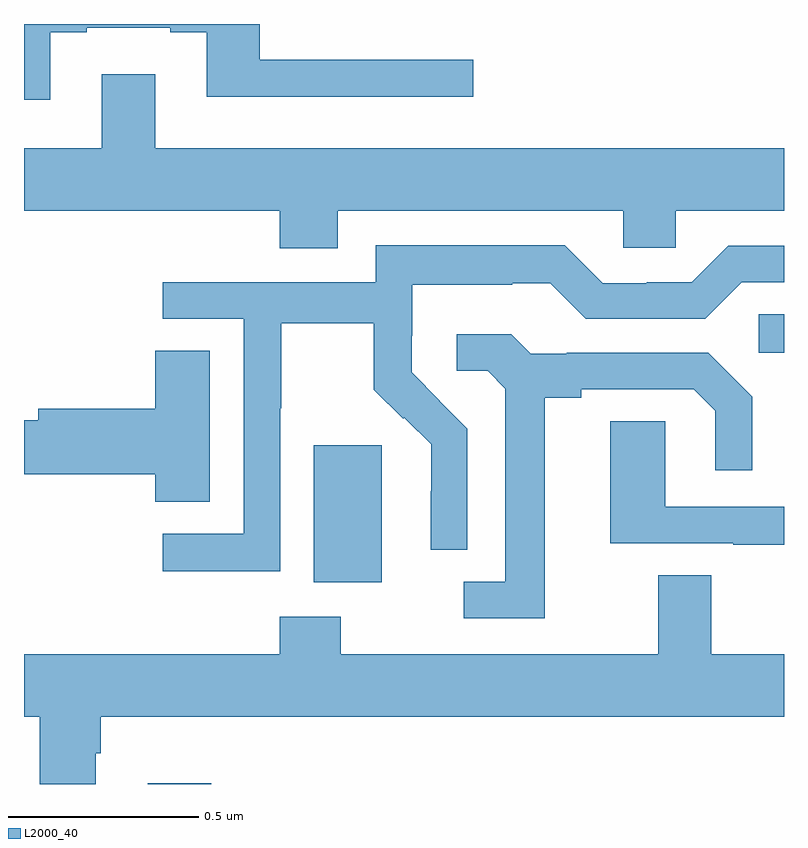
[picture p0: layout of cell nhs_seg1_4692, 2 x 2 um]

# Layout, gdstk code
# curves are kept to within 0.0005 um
import gdstk
lib = gdstk.Library(unit=1e-6, precision=1e-09)
def R(c, l, rs):  # rectangles x0, y0, x1, y1
    for r in rs: c.add(gdstk.rectangle(r[:2], r[2:], *l))
def P(c, l, *ps):  # polygons
    for p in ps: c.add(gdstk.Polygon(p, *l))
L2000_40 = (2000, 40)

nhs_seg1_4692 = lib.new_cell('nhs_seg1_4692')
R(nhs_seg1_4692, L2000_40, [(169.325,574.199,169.493,574.201), (169.763,574.73,169.942,575.091), (170.934,575.334,171,575.435)])
P(nhs_seg1_4692, L2000_40, [(169.069,576.177),(169.165,576.177),(169.165,576.189),(169.385,576.189),(169.385,576.177),(169.481,576.177),(169.481,576.008),(170.182,576.008),(170.182,576.105),(169.621,576.105),(169.621,576.199),(169,576.199),(169,576),(169.069,576)],
  [(169.825,575.708),(170.577,575.708),(170.577,575.61),(170.715,575.61),(170.715,575.708),(171,575.708),(171,575.872),(169.345,575.872),(169.345,576.067),(169.205,576.067),(169.205,575.872),(169,575.872),(169,575.708),(169.673,575.708),(169.673,575.609),(169.825,575.609)],
  [(169.674,575.188),(169.677,575.188),(169.677,575.412),(169.921,575.412),(169.921,575.237),(169.998,575.16),(170.001,575.163),(170.072,575.093),(170.072,574.97),(170.07,574.97),(170.07,574.816),(170.166,574.816),(170.166,575.134),(170.093,575.207),(170.094,575.208),(170.02,575.282),(170.02,575.379),(170.022,575.379),(170.022,575.513),(170.285,575.513),(170.285,575.517),(170.385,575.517),(170.478,575.424),(170.793,575.424),(170.889,575.52),(171,575.52),(171,575.616),(170.853,575.616),(170.757,575.52),(170.639,575.52),(170.639,575.517),(170.523,575.517),(170.423,575.617),(169.926,575.617),(169.926,575.52),(169.365,575.52),(169.365,575.424),(169.578,575.424),(169.578,574.857),(169.365,574.857),(169.365,574.759),(169.674,574.759)],
  [(170.371,575.216),(170.467,575.216),(170.467,575.238),(170.762,575.238),(170.819,575.181),(170.819,575.025),(170.916,575.025),(170.916,575.218),(170.8,575.334),(170.428,575.334),(170.428,575.331),(170.334,575.331),(170.282,575.383),(170.139,575.383),(170.139,575.286),(170.22,575.286),(170.267,575.239),(170.267,574.731),(170.157,574.731),(170.157,574.635),(170.371,574.635)],
  [(169.489,575.339),(169.346,575.339),(169.346,575.186),(169.037,575.186),(169.037,575.156),(169,575.156),(169,575.014),(169.346,575.014),(169.346,574.942),(169.489,574.942)],
  [(171,574.929),(170.688,574.929),(170.688,575.153),(170.543,575.153),(170.543,574.833),(170.867,574.833),(170.867,574.829),(171,574.829)],
  [(169.189,574.28),(169.202,574.28),(169.202,574.376),(171,574.376),(171,574.54),(170.809,574.54),(170.809,574.748),(170.669,574.748),(170.669,574.54),(169.833,574.54),(169.833,574.639),(169.673,574.639),(169.673,574.54),(169,574.54),(169,574.376),(169.042,574.376),(169.042,574.199),(169.189,574.199)])

lib.write_gds('nhs_seg1_4692.gds')
